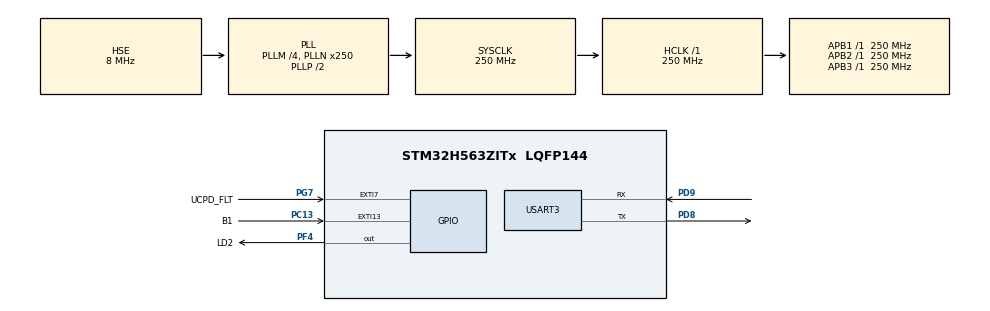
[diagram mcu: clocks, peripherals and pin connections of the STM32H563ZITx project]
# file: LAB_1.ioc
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BOOTPATH.BootPathName=LEGACY
BOOTPATH.UserSelectedBootPath=LEGACY
CORTEX_M33_NS.Number-Cortex_Memory_Protection_Unit_Region0_OTP_RO_AREAS_Settings=MPU_REGION_NUMBER0
CORTEX_M33_NS.default_mode_Activation=1
CORTEX_M33_NS.userName=CORTEX_M33
Mcu.Family=STM32H5
Mcu.Name=STM32H563ZITx
Mcu.Package=LQFP144
NVIC.EXTI13_IRQn=true\:0\:0\:false\:false\:true\:true\:true\:true
NVIC.PriorityGroup=NVIC_PRIORITYGROUP_4
PA1.GPIO_Label=RMII_REF_CLK
PA1.GPIO_Mode=GPIO_MODE_AF_PP
PA1.GPIO_PuPd=GPIO_NOPULL
PA1.GPIO_Speed=GPIO_SPEED_FREQ_LOW
PA1.Signal=ETH_REF_CLK
PA11.GPIO_Label=USB_FS_N
PA11.Signal=USB_DM
PA12.GPIO_Label=USB_FS_P
PA12.Signal=USB_DP
PA13(JTMS/SWDIO).GPIO_Label=SWDIO
PA13(JTMS/SWDIO).Signal=DEBUG_JTMS-SWDIO
PA14(JTCK/SWCLK).GPIO_Label=SWCLK
PA14(JTCK/SWCLK).Signal=DEBUG_JTCK-SWCLK
PA15(JTDI).GPIO_Label=T_JTDI
PA15(JTDI).Signal=DEBUG_JTDI
PA2.GPIO_Label=RMII_MDIO
PA2.GPIO_Mode=GPIO_MODE_AF_PP
PA2.GPIO_PuPd=GPIO_NOPULL
PA2.GPIO_Speed=GPIO_SPEED_FREQ_LOW
PA2.Signal=ETH_MDIO
PA4.GPIO_Label=VBUS_SENSE
PA4.Signal=ADCx_INP18
PA7.GPIO_Label=RMII_CRS_DV
PA7.GPIO_Mode=GPIO_MODE_AF_PP
PA7.GPIO_PuPd=GPIO_NOPULL
PA7.GPIO_Speed=GPIO_SPEED_FREQ_LOW
PA7.Signal=ETH_CRS_DV
PA9.GPIO_Label=UCDP_DBn
PA9.Signal=UCPD1_DB1
PB13.GPIO_Label=UCPD_CC1
PB13.Signal=UCPD1_CC1
PB14.GPIO_Label=UCPD_CC2
PB14.Signal=UCPD1_CC2
PB15.GPIO_Label=RMII_TXD1
PB15.GPIO_Mode=GPIO_MODE_AF_PP
PB15.GPIO_PuPd=GPIO_NOPULL
PB15.GPIO_Speed=GPIO_SPEED_FREQ_LOW
PB15.Signal=ETH_TXD1
PB3(JTDO/TRACESWO).GPIO_Label=SWO
PB3(JTDO/TRACESWO).Signal=DEBUG_JTDO-SWO
PB6.GPIO_Label=ARD_D1_TX
PB6.Signal=LPUART1_TX
PB7.GPIO_Label=ARD_D0_RX
PB7.Signal=LPUART1_RX
PC1.GPIO_Label=RMII_MDC
PC1.GPIO_Mode=GPIO_MODE_AF_PP
PC1.GPIO_PuPd=GPIO_NOPULL
PC1.GPIO_Speed=GPIO_SPEED_FREQ_LOW
PC1.Signal=ETH_MDC
PC13.GPIO_Label=B1
PC13.Signal=GPXTI13
PC14-OSC32_IN(OSC32_IN).Mode=LSE-External-Oscillator
PC14-OSC32_IN(OSC32_IN).Signal=RCC_OSC32_IN
PC15-OSC32_OUT(OSC32_OUT).Mode=LSE-External-Oscillator
PC15-OSC32_OUT(OSC32_OUT).Signal=RCC_OSC32_OUT
PC4.GPIO_Label=RMII_RXD0
PC4.GPIO_Mode=GPIO_MODE_AF_PP
PC4.GPIO_PuPd=GPIO_NOPULL
PC4.GPIO_Speed=GPIO_SPEED_FREQ_LOW
PC4.Signal=ETH_RXD0
PC5.GPIO_Label=RMII_RXD1
PC5.GPIO_Mode=GPIO_MODE_AF_PP
PC5.GPIO_PuPd=GPIO_NOPULL
PC5.GPIO_Speed=GPIO_SPEED_FREQ_LOW
PC5.Signal=ETH_RXD1
PD8.Mode=Asynchronous
PD8.Signal=USART3_TX
PD9.Mode=Asynchronous
PD9.Signal=USART3_RX
PE2.GPIO_Label=TRACE_CK
PE2.Signal=DEBUG_TRACECLK
PE3.GPIO_Label=TRACE_D0
PE3.Signal=DEBUG_TRACED0
PE4.GPIO_Label=TRACE_D1
PE4.Signal=DEBUG_TRACED1
PE5.GPIO_Label=TRACE_D2
PE5.Signal=DEBUG_TRACED2
PE6.GPIO_Label=TRACE_D3
PE6.Signal=DEBUG_TRACED3
PF4.GPIO_Label=LD2
PF4.Signal=GPIO_Output
PG11.GPIO_Label=RMII_TXT_EN
PG11.GPIO_Mode=GPIO_MODE_AF_PP
PG11.GPIO_PuPd=GPIO_NOPULL
PG11.GPIO_Speed=GPIO_SPEED_FREQ_LOW
PG11.Signal=ETH_TX_EN
PG13.GPIO_Label=RMI_TXD0
PG13.GPIO_Mode=GPIO_MODE_AF_PP
PG13.GPIO_PuPd=GPIO_NOPULL
PG13.GPIO_Speed=GPIO_SPEED_FREQ_LOW
PG13.Signal=ETH_TXD0
PG7.GPIO_Label=UCPD_FLT
PG7.Signal=GPXTI7
PH0-OSC_IN(PH0).GPIO_Label=STLK_MCO
PH0-OSC_IN(PH0).Mode=HSE-External-Clock-Source
PH0-OSC_IN(PH0).Signal=RCC_OSC_IN
ProjectManager.HeapSize=0x200
ProjectManager.StackSize=0x400
ProjectManager.TargetToolchain=STM32CubeIDE
RCC.ADCFreq_Value=250000000
RCC.AHBFreq_Value=250000000
RCC.APB1Freq_Value=250000000
RCC.APB1TimFreq_Value=250000000
RCC.APB2Freq_Value=250000000
RCC.APB2TimFreq_Value=250000000
RCC.APB3Freq_Value=250000000
RCC.CSI_VALUE=4000000
RCC.CortexFreq_Value=250000000
RCC.EPOD_VALUE=8000000
RCC.HCLKFreq_Value=250000000
RCC.HSE_VALUE=8000000
RCC.HSI48_VALUE=48000000
RCC.HSIDiv=RCC_HSI_DIV1
RCC.HSI_VALUE=64000000
RCC.LSIRC_VALUE=32000
RCC.PLLM=4
RCC.PLLN=250
RCC.PLLSourceVirtual=RCC_PLL1_SOURCE_HSE
RCC.SYSCLKFreq_VALUE=250000000
RCC.SYSCLKSource=RCC_SYSCLKSOURCE_PLLCLK
RCC.USBFreq_Value=48000000
RCC.VCOOutputFreq_Value=500000000
SH.ADCx_INP18.0=ADC1_INP18
USART3.VirtualMode-Asynchronous=VM_ASYNC
VP_BOOTPATH_VS_BOOTPATH.Mode=BP_Activate
VP_CORTEX_M33_NS_VS_Hclk.Mode=Hclk_Mode
VP_ICACHE_VS_ICACHE.Mode=DirectMappedCache
VP_MEMORYMAP_VS_MEMORYMAP.Mode=CurAppReg
VP_PWR_VS_DBSignals.Mode=DisableDeadBatterySignals
VP_PWR_VS_LPOM.Mode=PowerOptimisation
VP_PWR_VS_SECSignals.Mode=Security/Privilege
board=NUCLEO-H563ZI

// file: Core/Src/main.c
/* USER CODE BEGIN Header */
/**
  ******************************************************************************
  * @file           : main.c
  * @brief          : Main program body
  ******************************************************************************
  * @attention
  *
  * Copyright (c) 2026 STMicroelectronics.
  * All rights reserved.
  *
  * This software is licensed under terms that can be found in the LICENSE file
  * in the root directory of this software component.
  * If no LICENSE file comes with this software, it is provided AS-IS.
  *
  ******************************************************************************
  */
/* USER CODE END Header */
#include "main.h"

/* USER CODE BEGIN Includes */
#include <ctype.h>
#include <stdio.h>
#include <stdlib.h>
#include <string.h>
/* USER CODE END Includes */

/* USER CODE BEGIN PD */
#define BUTTON_DEBOUNCE_MS 200U
#define UART_LOG_QUEUE_DEPTH 16U
#define UART_LOG_MSG_MAX_LEN 96U
#define UART_RX_FIFO_DEPTH 32U
#define UART_CONSOLE_LINE_MAX_LEN 64U
/* USER CODE END PD */

UART_HandleTypeDef huart3;

/* USER CODE BEGIN PV */
volatile uint32_t g_blink_ms = 500;
volatile uint8_t g_button_event = 0;
volatile uint32_t g_next_toggle_tick = 0;
volatile uint32_t g_last_button_tick = 0;
static char g_uart_log_queue[UART_LOG_QUEUE_DEPTH][UART_LOG_MSG_MAX_LEN];
volatile uint8_t g_uart_log_head = 0;
volatile uint8_t g_uart_log_tail = 0;
volatile uint8_t g_uart_tx_busy = 0;
volatile uint8_t g_uart_rx_byte = 0;
static uint8_t g_uart_rx_fifo[UART_RX_FIFO_DEPTH];
volatile uint8_t g_uart_rx_head = 0;
volatile uint8_t g_uart_rx_tail = 0;
volatile uint8_t g_uart_rx_overflow = 0;
static char g_console_line[UART_CONSOLE_LINE_MAX_LEN];
static char g_console_cmd[UART_CONSOLE_LINE_MAX_LEN];
uint8_t g_console_line_len = 0;
volatile uint8_t g_console_cmd_ready = 0;
uint32_t g_console_baud_rate = 115200U;
const char *g_console_format_name = "8N1";
/* USER CODE END PV */

void SystemClock_Config(void);
static void MPU_Config(void);
static void MX_GPIO_Init(void);
static void MX_ICACHE_Init(void);
static void MX_USART3_UART_Init(void);
/* USER CODE BEGIN PFP */
static uint8_t UartLogNextIndex(uint8_t index);
static uint8_t UartRxNextIndex(uint8_t index);
static void UartLogStartTxIfIdle(void);
static void UartWaitForTxDrain(void);
static void LogUart(const char *msg);
static void StartConsoleRx(void);
static uint8_t UartRxPopByte(uint8_t *byte);
static void ConsolePrintPrompt(void);
static void ConsolePrintHelp(void);
static void ConsolePrintCurrentUart(void);
static void ConsoleHandleByte(uint8_t byte);
static void ConsoleProcessRx(void);
static void ConsoleProcessCommand(void);
static uint8_t ConsoleTryParseFormat(const char *token,
                                     uint32_t *word_length,
                                     uint32_t *parity,
                                     uint32_t *stop_bits,
                                     const char **format_name);
static HAL_StatusTypeDef ConsoleApplyUartConfig(uint32_t baud_rate,
                                                uint32_t word_length,
                                                uint32_t parity,
                                                uint32_t stop_bits);
/* USER CODE END PFP */

/* USER CODE BEGIN 0 */
static uint8_t UartLogNextIndex(uint8_t index)
{
  return (uint8_t)((index + 1U) % UART_LOG_QUEUE_DEPTH);
}

static uint8_t UartRxNextIndex(uint8_t index)
{
  return (uint8_t)((index + 1U) % UART_RX_FIFO_DEPTH);
}

static void UartLogStartTxIfIdle(void)
{
  uint8_t tail_local;
  uint16_t len;
  HAL_StatusTypeDef status;

  __disable_irq();
  if ((g_uart_tx_busy != 0U) || (g_uart_log_head == g_uart_log_tail))
  {
    __enable_irq();
    return;
  }

  g_uart_tx_busy = 1U;
  tail_local = g_uart_log_tail;
  len = (uint16_t)strlen(g_uart_log_queue[tail_local]);
  __enable_irq();

  status = HAL_UART_Transmit_IT(&huart3, (uint8_t *)g_uart_log_queue[tail_local], len);
  if (status != HAL_OK)
  {
    __disable_irq();
    g_uart_tx_busy = 0U;
    __enable_irq();
  }
}

static void LogUart(const char *msg)
{
  uint8_t head_local;
  uint8_t next_head;

  if (msg == NULL)
  {
    return;
  }

  __disable_irq();
  head_local = g_uart_log_head;
  next_head = UartLogNextIndex(head_local);
  if (next_head == g_uart_log_tail)
  {
    __enable_irq();
    return;
  }

  (void)strncpy(g_uart_log_queue[head_local], msg, UART_LOG_MSG_MAX_LEN - 1U);
  g_uart_log_queue[head_local][UART_LOG_MSG_MAX_LEN - 1U] = '\0';
  g_uart_log_head = next_head;
  __enable_irq();

  UartLogStartTxIfIdle();
}

static void UartWaitForTxDrain(void)
{
  while (1)
  {
    uint8_t tx_idle;

    __disable_irq();
    tx_idle = (uint8_t)(((g_uart_tx_busy == 0U) && (g_uart_log_head == g_uart_log_tail)) ? 1U : 0U);
    __enable_irq();

    if (tx_idle != 0U)
    {
      break;
    }

    UartLogStartTxIfIdle();
  }
}

static void StartConsoleRx(void)
{
  if (HAL_UART_Receive_IT(&huart3, (uint8_t *)&g_uart_rx_byte, 1U) != HAL_OK)
  {
    Error_Handler();
  }
}

static uint8_t UartRxPopByte(uint8_t *byte)
{
  uint8_t tail_local;

  if (byte == NULL)
  {
    return 0U;
  }

  __disable_irq();
  if (g_uart_rx_head == g_uart_rx_tail)
  {
    __enable_irq();
    return 0U;
  }

  tail_local = g_uart_rx_tail;
  *byte = g_uart_rx_fifo[tail_local];
  g_uart_rx_tail = UartRxNextIndex(tail_local);
  __enable_irq();

  return 1U;
}

static void ConsolePrintPrompt(void)
{
  LogUart("> ");
}

static void ConsolePrintHelp(void)
{
  LogUart("Commands:\r\n");
  LogUart("  help\r\n");
  LogUart("  uart show\r\n");
  LogUart("  uart set <baud> <8n1|8e1|8o1|8n2>\r\n");
}

static void ConsolePrintCurrentUart(void)
{
  char msg[UART_LOG_MSG_MAX_LEN];

  (void)snprintf(msg,
                 sizeof(msg),
                 "UART console: %lu %s\r\n",
                 (unsigned long)g_console_baud_rate,
                 g_console_format_name);
  LogUart(msg);
}

static void ConsoleHandleByte(uint8_t byte)
{
  char echo[2];

  if ((byte == '\r') || (byte == '\n'))
  {
    if (g_console_line_len != 0U)
    {
      g_console_line[g_console_line_len] = '\0';
      if (g_console_cmd_ready == 0U)
      {
        (void)strncpy(g_console_cmd, g_console_line, sizeof(g_console_cmd) - 1U);
        g_console_cmd[sizeof(g_console_cmd) - 1U] = '\0';
        g_console_cmd_ready = 1U;
      }
      else
      {
        LogUart("\r\nCommand dropped: previous command still pending.\r\n");
      }

      g_console_line_len = 0U;
    }
    else
    {
      LogUart("\r\n");
      ConsolePrintPrompt();
      return;
    }

    LogUart("\r\n");
    return;
  }

  if ((byte == '\b') || (byte == 0x7FU))
  {
    if (g_console_line_len != 0U)
    {
      g_console_line_len--;
      LogUart("\b \b");
    }

    return;
  }

  if (isprint((int)byte) == 0)
  {
    return;
  }

  if (g_console_line_len >= (UART_CONSOLE_LINE_MAX_LEN - 1U))
  {
    return;
  }

  g_console_line[g_console_line_len] = (char)byte;
  g_console_line_len++;

  echo[0] = (char)byte;
  echo[1] = '\0';
  LogUart(echo);
}

static uint8_t ConsoleTryParseFormat(const char *token,
                                     uint32_t *word_length,
                                     uint32_t *parity,
                                     uint32_t *stop_bits,
                                     const char **format_name)
{
  char normalized[8];
  size_t idx;

  if ((token == NULL) || (word_length == NULL) || (parity == NULL) || (stop_bits == NULL) || (format_name == NULL))
  {
    return 0U;
  }

  for (idx = 0U; idx < (sizeof(normalized) - 1U); idx++)
  {
    if (token[idx] == '\0')
    {
      break;
    }

    normalized[idx] = (char)tolower((int)(unsigned char)token[idx]);
  }
  normalized[idx] = '\0';

  if (strcmp(normalized, "8n1") == 0)
  {
    *word_length = UART_WORDLENGTH_8B;
    *parity = UART_PARITY_NONE;
    *stop_bits = UART_STOPBITS_1;
    *format_name = "8N1";
    return 1U;
  }

  if (strcmp(normalized, "8e1") == 0)
  {
    *word_length = UART_WORDLENGTH_9B;
    *parity = UART_PARITY_EVEN;
    *stop_bits = UART_STOPBITS_1;
    *format_name = "8E1";
    return 1U;
  }

  if (strcmp(normalized, "8o1") == 0)
  {
    *word_length = UART_WORDLENGTH_9B;
    *parity = UART_PARITY_ODD;
    *stop_bits = UART_STOPBITS_1;
    *format_name = "8O1";
    return 1U;
  }

  if (strcmp(normalized, "8n2") == 0)
  {
    *word_length = UART_WORDLENGTH_8B;
    *parity = UART_PARITY_NONE;
    *stop_bits = UART_STOPBITS_2;
    *format_name = "8N2";
    return 1U;
  }

  return 0U;
}

static HAL_StatusTypeDef ConsoleApplyUartConfig(uint32_t baud_rate,
                                                uint32_t word_length,
                                                uint32_t parity,
                                                uint32_t stop_bits)
{
  (void)HAL_UART_AbortReceive_IT(&huart3);

  if (HAL_UART_DeInit(&huart3) != HAL_OK)
  {
    return HAL_ERROR;
  }

  huart3.Instance = USART3;
  huart3.Init.BaudRate = baud_rate;
  huart3.Init.WordLength = word_length;
  huart3.Init.StopBits = stop_bits;
  huart3.Init.Parity = parity;
  huart3.Init.Mode = UART_MODE_TX_RX;
  huart3.Init.HwFlowCtl = UART_HWCONTROL_NONE;
  huart3.Init.OverSampling = UART_OVERSAMPLING_16;
  huart3.Init.OneBitSampling = UART_ONE_BIT_SAMPLE_DISABLE;
  huart3.Init.ClockPrescaler = UART_PRESCALER_DIV1;
  huart3.AdvancedInit.AdvFeatureInit = UART_ADVFEATURE_NO_INIT;

  if (HAL_UART_Init(&huart3) != HAL_OK)
  {
    return HAL_ERROR;
  }

  if (HAL_UARTEx_SetTxFifoThreshold(&huart3, UART_TXFIFO_THRESHOLD_1_8) != HAL_OK)
  {
    return HAL_ERROR;
  }

  if (HAL_UARTEx_SetRxFifoThreshold(&huart3, UART_RXFIFO_THRESHOLD_1_8) != HAL_OK)
  {
    return HAL_ERROR;
  }

  if (HAL_UARTEx_DisableFifoMode(&huart3) != HAL_OK)
  {
    return HAL_ERROR;
  }

  StartConsoleRx();
  return HAL_OK;
}

static void ConsoleProcessCommand(void)
{
  char *command;
  char *subcommand;
  char *baud_token;
  char *format_token;
  char *extra_token;
  char *end_ptr;
  char msg[UART_LOG_MSG_MAX_LEN];
  uint32_t baud_rate;
  uint32_t word_length;
  uint32_t parity;
  uint32_t stop_bits;
  const char *format_name;

  command = strtok(g_console_cmd, " ");
  if (command == NULL)
  {
    return;
  }

  if (strcmp(command, "help") == 0)
  {
    ConsolePrintHelp();
    return;
  }

  if (strcmp(command, "uart") != 0)
  {
    LogUart("Unknown command. Type 'help'.\r\n");
    return;
  }

  subcommand = strtok(NULL, " ");
  if (subcommand == NULL)
  {
    LogUart("Usage: uart show | uart set <baud> <format>\r\n");
    return;
  }

  if (strcmp(subcommand, "show") == 0)
  {
    ConsolePrintCurrentUart();
    return;
  }

  if (strcmp(subcommand, "set") != 0)
  {
    LogUart("Usage: uart show | uart set <baud> <format>\r\n");
    return;
  }

  baud_token = strtok(NULL, " ");
  format_token = strtok(NULL, " ");
  extra_token = strtok(NULL, " ");
  if ((baud_token == NULL) || (format_token == NULL) || (extra_token != NULL))
  {
    LogUart("Usage: uart set <baud> <8n1|8e1|8o1|8n2>\r\n");
    return;
  }

  baud_rate = strtoul(baud_token, &end_ptr, 10);
  if ((*baud_token == '\0') || (*end_ptr != '\0') || (baud_rate < 1200U) || (baud_rate > 1000000U))
  {
    LogUart("Baud must be an integer in the range 1200..1000000.\r\n");
    return;
  }

  if (ConsoleTryParseFormat(format_token, &word_length, &parity, &stop_bits, &format_name) == 0U)
  {
    LogUart("Format must be one of: 8n1, 8e1, 8o1, 8n2.\r\n");
    return;
  }

  (void)snprintf(msg,
                 sizeof(msg),
                 "Applying UART console: %lu %s. Update terminal now.\r\n",
                 (unsigned long)baud_rate,
                 format_name);
  LogUart(msg);
  UartWaitForTxDrain();

  if (ConsoleApplyUartConfig(baud_rate, word_length, parity, stop_bits) != HAL_OK)
  {
    Error_Handler();
  }

  g_console_baud_rate = baud_rate;
  g_console_format_name = format_name;
  LogUart("\r\nUART reconfigured.\r\n");
  ConsolePrintCurrentUart();
}

static void ConsoleProcessRx(void)
{
  uint8_t byte;

  while (UartRxPopByte(&byte) != 0U)
  {
    ConsoleHandleByte(byte);
  }

  __disable_irq();
  if (g_uart_rx_overflow != 0U)
  {
    g_uart_rx_overflow = 0U;
    __enable_irq();
    LogUart("\r\nRX overflow: input dropped.\r\n");
  }
  else
  {
    __enable_irq();
  }
}

void HAL_GPIO_EXTI_Rising_Callback(uint16_t GPIO_Pin)
{
  if (GPIO_Pin == B1_Pin)
  {
    uint32_t now = HAL_GetTick();
    if ((now - g_last_button_tick) < BUTTON_DEBOUNCE_MS)
    {
      return;
    }

    g_last_button_tick = now;
    g_blink_ms = (g_blink_ms == 500U) ? 100U : 500U;
    g_button_event = 1U;
  }
}

void HAL_UART_TxCpltCallback(UART_HandleTypeDef *huart)
{
  if (huart->Instance != USART3)
  {
    return;
  }

  __disable_irq();
  g_uart_log_tail = UartLogNextIndex(g_uart_log_tail);
  g_uart_tx_busy = 0U;
  __enable_irq();

  UartLogStartTxIfIdle();
}

void HAL_UART_RxCpltCallback(UART_HandleTypeDef *huart)
{
  uint8_t next_head;

  if (huart->Instance != USART3)
  {
    return;
  }

  next_head = UartRxNextIndex(g_uart_rx_head);
  if (next_head == g_uart_rx_tail)
  {
    g_uart_rx_overflow = 1U;
  }
  else
  {
    g_uart_rx_fifo[g_uart_rx_head] = g_uart_rx_byte;
    g_uart_rx_head = next_head;
  }

  if (HAL_UART_Receive_IT(&huart3, (uint8_t *)&g_uart_rx_byte, 1U) != HAL_OK)
  {
    Error_Handler();
  }
}

void HAL_UART_ErrorCallback(UART_HandleTypeDef *huart)
{
  if (huart->Instance != USART3)
  {
    return;
  }

  if (HAL_UART_Receive_IT(&huart3, (uint8_t *)&g_uart_rx_byte, 1U) != HAL_OK)
  {
    Error_Handler();
  }
}
/* USER CODE END 0 */

int main(void)
{

  /* MCU Configuration--------------------------------------------------------*/

  /* MPU Configuration--------------------------------------------------------*/
  MPU_Config();

  /* Reset of all peripherals, Initializes the Flash interface and the Systick. */
  HAL_Init();

  /* Configure the system clock */
  SystemClock_Config();

  /* Initialize all configured peripherals */
  MX_GPIO_Init();
  MX_ICACHE_Init();
  MX_USART3_UART_Init();
  /* USER CODE BEGIN 2 */
  g_next_toggle_tick = HAL_GetTick() + g_blink_ms;
  LogUart("\r\nLAB4 started: non-blocking UART logging with interrupt queue.\r\n");
  LogUart("UART mode: HAL_UART_Transmit_IT (USART3 IRQ).\r\n");
  LogUart("Debounce window: 200 ms.\r\n");
  LogUart("Press USER button to change blink speed.\r\n");
  LogUart("Console commands: help, uart show, uart set <baud> <format>\r\n");
  StartConsoleRx();
  ConsolePrintPrompt();
  /* USER CODE END 2 */

  /* Infinite loop */
  while (1)
  {

    /* USER CODE BEGIN 3 */
    uint32_t now = HAL_GetTick();

    ConsoleProcessRx();

    if ((int32_t)(now - g_next_toggle_tick) >= 0)
    {
      HAL_GPIO_TogglePin(LD2_GPIO_Port, LD2_Pin);
      g_next_toggle_tick = now + g_blink_ms;
    }

    if (g_button_event != 0U)
    {
      g_button_event = 0U;
      g_next_toggle_tick = now + g_blink_ms;
      if (g_blink_ms == 100U)
      {
        LogUart("Button event -> fast blink (100 ms)\r\n");
      }
      else
      {
        LogUart("Button event -> slow blink (500 ms)\r\n");
      }
    }

    if (g_console_cmd_ready != 0U)
    {
      g_console_cmd_ready = 0U;
      ConsoleProcessCommand();
      ConsolePrintPrompt();
    }

    UartLogStartTxIfIdle();
    __WFI();
  }
  /* USER CODE END 3 */
}

void SystemClock_Config(void)
{
  RCC_OscInitTypeDef RCC_OscInitStruct = {0};
  RCC_ClkInitTypeDef RCC_ClkInitStruct = {0};

  /** Configure the main internal regulator output voltage
  */
  __HAL_PWR_VOLTAGESCALING_CONFIG(PWR_REGULATOR_VOLTAGE_SCALE0);

  while(!__HAL_PWR_GET_FLAG(PWR_FLAG_VOSRDY)) {}

  /** Initializes the RCC Oscillators according to the specified parameters
  * in the RCC_OscInitTypeDef structure.
  */
  RCC_OscInitStruct.OscillatorType = RCC_OSCILLATORTYPE_HSE;
  RCC_OscInitStruct.HSEState = RCC_HSE_BYPASS;
  RCC_OscInitStruct.PLL.PLLState = RCC_PLL_ON;
  RCC_OscInitStruct.PLL.PLLSource = RCC_PLL1_SOURCE_HSE;
  RCC_OscInitStruct.PLL.PLLM = 4;
  RCC_OscInitStruct.PLL.PLLN = 250;
  RCC_OscInitStruct.PLL.PLLP = 2;
  RCC_OscInitStruct.PLL.PLLQ = 2;
  RCC_OscInitStruct.PLL.PLLR = 2;
  RCC_OscInitStruct.PLL.PLLRGE = RCC_PLL1_VCIRANGE_1;
  RCC_OscInitStruct.PLL.PLLVCOSEL = RCC_PLL1_VCORANGE_WIDE;
  RCC_OscInitStruct.PLL.PLLFRACN = 0;
  if (HAL_RCC_OscConfig(&RCC_OscInitStruct) != HAL_OK)
  {
    Error_Handler();
  }

  /** Initializes the CPU, AHB and APB buses clocks
  */
  RCC_ClkInitStruct.ClockType = RCC_CLOCKTYPE_HCLK|RCC_CLOCKTYPE_SYSCLK
                              |RCC_CLOCKTYPE_PCLK1|RCC_CLOCKTYPE_PCLK2
                              |RCC_CLOCKTYPE_PCLK3;
  RCC_ClkInitStruct.SYSCLKSource = RCC_SYSCLKSOURCE_PLLCLK;
  RCC_ClkInitStruct.AHBCLKDivider = RCC_SYSCLK_DIV1;
  RCC_ClkInitStruct.APB1CLKDivider = RCC_HCLK_DIV1;
  RCC_ClkInitStruct.APB2CLKDivider = RCC_HCLK_DIV1;
  RCC_ClkInitStruct.APB3CLKDivider = RCC_HCLK_DIV1;

  if (HAL_RCC_ClockConfig(&RCC_ClkInitStruct, FLASH_LATENCY_5) != HAL_OK)
  {
    Error_Handler();
  }

  /** Configure the programming delay
  */
  __HAL_FLASH_SET_PROGRAM_DELAY(FLASH_PROGRAMMING_DELAY_2);
}

static void MX_ICACHE_Init(void)
{

  /** Enable instruction cache in 1-way (direct mapped cache)
  */
  if (HAL_ICACHE_ConfigAssociativityMode(ICACHE_1WAY) != HAL_OK)
  {
    Error_Handler();
  }
  if (HAL_ICACHE_Enable() != HAL_OK)
  {
    Error_Handler();
  }

}

static void MX_USART3_UART_Init(void)
{

  huart3.Instance = USART3;
  huart3.Init.BaudRate = 115200;
  huart3.Init.WordLength = UART_WORDLENGTH_8B;
  huart3.Init.StopBits = UART_STOPBITS_1;
  huart3.Init.Parity = UART_PARITY_NONE;
  huart3.Init.Mode = UART_MODE_TX_RX;
  huart3.Init.HwFlowCtl = UART_HWCONTROL_NONE;
  huart3.Init.OverSampling = UART_OVERSAMPLING_16;
  huart3.Init.OneBitSampling = UART_ONE_BIT_SAMPLE_DISABLE;
  huart3.Init.ClockPrescaler = UART_PRESCALER_DIV1;
  huart3.AdvancedInit.AdvFeatureInit = UART_ADVFEATURE_NO_INIT;
  if (HAL_UART_Init(&huart3) != HAL_OK)
  {
    Error_Handler();
  }
  if (HAL_UARTEx_SetTxFifoThreshold(&huart3, UART_TXFIFO_THRESHOLD_1_8) != HAL_OK)
  {
    Error_Handler();
  }
  if (HAL_UARTEx_SetRxFifoThreshold(&huart3, UART_RXFIFO_THRESHOLD_1_8) != HAL_OK)
  {
    Error_Handler();
  }
  if (HAL_UARTEx_DisableFifoMode(&huart3) != HAL_OK)
  {
    Error_Handler();
  }
  /* USER CODE BEGIN USART3_Init 2 */
  HAL_NVIC_SetPriority(USART3_IRQn, 0, 0);
  HAL_NVIC_EnableIRQ(USART3_IRQn);

  /* USER CODE END USART3_Init 2 */

}

static void MX_GPIO_Init(void)
{
  GPIO_InitTypeDef GPIO_InitStruct = {0};

  /* GPIO Ports Clock Enable */
  __HAL_RCC_GPIOE_CLK_ENABLE();
  __HAL_RCC_GPIOC_CLK_ENABLE();
  __HAL_RCC_GPIOF_CLK_ENABLE();
  __HAL_RCC_GPIOH_CLK_ENABLE();
  __HAL_RCC_GPIOA_CLK_ENABLE();
  __HAL_RCC_GPIOB_CLK_ENABLE();
  __HAL_RCC_GPIOD_CLK_ENABLE();
  __HAL_RCC_GPIOG_CLK_ENABLE();

  /*Configure GPIO pin Output Level */
  HAL_GPIO_WritePin(LD2_GPIO_Port, LD2_Pin, GPIO_PIN_RESET);

  /*Configure GPIO pin : B1_Pin */
  GPIO_InitStruct.Pin = B1_Pin;
  GPIO_InitStruct.Mode = GPIO_MODE_IT_RISING;
  GPIO_InitStruct.Pull = GPIO_NOPULL;
  HAL_GPIO_Init(B1_GPIO_Port, &GPIO_InitStruct);

  /*Configure GPIO pin : LD2_Pin */
  GPIO_InitStruct.Pin = LD2_Pin;
  GPIO_InitStruct.Mode = GPIO_MODE_OUTPUT_PP;
  GPIO_InitStruct.Pull = GPIO_NOPULL;
  GPIO_InitStruct.Speed = GPIO_SPEED_FREQ_LOW;
  HAL_GPIO_Init(LD2_GPIO_Port, &GPIO_InitStruct);

  /*Configure GPIO pins : RMII_MDC_Pin RMII_RXD0_Pin RMII_RXD1_Pin */
  GPIO_InitStruct.Pin = RMII_MDC_Pin|RMII_RXD0_Pin|RMII_RXD1_Pin;
  GPIO_InitStruct.Mode = GPIO_MODE_AF_PP;
  GPIO_InitStruct.Pull = GPIO_NOPULL;
  GPIO_InitStruct.Speed = GPIO_SPEED_FREQ_HIGH;
  GPIO_InitStruct.Alternate = GPIO_AF11_ETH;
  HAL_GPIO_Init(GPIOC, &GPIO_InitStruct);

  /*Configure GPIO pins : RMII_REF_CLK_Pin RMII_MDIO_Pin RMII_CRS_DV_Pin */
  GPIO_InitStruct.Pin = RMII_REF_CLK_Pin|RMII_MDIO_Pin|RMII_CRS_DV_Pin;
  GPIO_InitStruct.Mode = GPIO_MODE_AF_PP;
  GPIO_InitStruct.Pull = GPIO_NOPULL;
  GPIO_InitStruct.Speed = GPIO_SPEED_FREQ_HIGH;
  GPIO_InitStruct.Alternate = GPIO_AF11_ETH;
  HAL_GPIO_Init(GPIOA, &GPIO_InitStruct);

  /*Configure GPIO pin : VBUS_SENSE_Pin */
  GPIO_InitStruct.Pin = VBUS_SENSE_Pin;
  GPIO_InitStruct.Mode = GPIO_MODE_ANALOG;
  GPIO_InitStruct.Pull = GPIO_NOPULL;
  HAL_GPIO_Init(VBUS_SENSE_GPIO_Port, &GPIO_InitStruct);

  /*Configure GPIO pins : UCPD_CC1_Pin UCPD_CC2_Pin */
  GPIO_InitStruct.Pin = UCPD_CC1_Pin|UCPD_CC2_Pin;
  GPIO_InitStruct.Mode = GPIO_MODE_ANALOG;
  GPIO_InitStruct.Pull = GPIO_NOPULL;
  HAL_GPIO_Init(GPIOB, &GPIO_InitStruct);

  /*Configure GPIO pin : RMII_TXD1_Pin */
  GPIO_InitStruct.Pin = RMII_TXD1_Pin;
  GPIO_InitStruct.Mode = GPIO_MODE_AF_PP;
  GPIO_InitStruct.Pull = GPIO_NOPULL;
  GPIO_InitStruct.Speed = GPIO_SPEED_FREQ_HIGH;
  GPIO_InitStruct.Alternate = GPIO_AF11_ETH;
  HAL_GPIO_Init(RMII_TXD1_GPIO_Port, &GPIO_InitStruct);

  /*Configure GPIO pin : UCPD_FLT_Pin */
  GPIO_InitStruct.Pin = UCPD_FLT_Pin;
  GPIO_InitStruct.Mode = GPIO_MODE_IT_RISING;
  GPIO_InitStruct.Pull = GPIO_NOPULL;
  HAL_GPIO_Init(UCPD_FLT_GPIO_Port, &GPIO_InitStruct);

  /*Configure GPIO pins : USB_FS_N_Pin USB_FS_P_Pin */
  GPIO_InitStruct.Pin = USB_FS_N_Pin|USB_FS_P_Pin;
  GPIO_InitStruct.Mode = GPIO_MODE_AF_PP;
  GPIO_InitStruct.Pull = GPIO_NOPULL;
  GPIO_InitStruct.Speed = GPIO_SPEED_FREQ_LOW;
  GPIO_InitStruct.Alternate = GPIO_AF10_USB;
  HAL_GPIO_Init(GPIOA, &GPIO_InitStruct);

  /*Configure GPIO pins : RMII_TXT_EN_Pin RMI_TXD0_Pin */
  GPIO_InitStruct.Pin = RMII_TXT_EN_Pin|RMI_TXD0_Pin;
  GPIO_InitStruct.Mode = GPIO_MODE_AF_PP;
  GPIO_InitStruct.Pull = GPIO_NOPULL;
  GPIO_InitStruct.Speed = GPIO_SPEED_FREQ_HIGH;
  GPIO_InitStruct.Alternate = GPIO_AF11_ETH;
  HAL_GPIO_Init(GPIOG, &GPIO_InitStruct);

  /*Configure GPIO pins : ARD_D1_TX_Pin ARD_D0_RX_Pin */
  GPIO_InitStruct.Pin = ARD_D1_TX_Pin|ARD_D0_RX_Pin;
  GPIO_InitStruct.Mode = GPIO_MODE_AF_PP;
  GPIO_InitStruct.Pull = GPIO_NOPULL;
  GPIO_InitStruct.Speed = GPIO_SPEED_FREQ_LOW;
  GPIO_InitStruct.Alternate = GPIO_AF8_LPUART1;
  HAL_GPIO_Init(GPIOB, &GPIO_InitStruct);

  /* EXTI interrupt init*/
  HAL_NVIC_SetPriority(EXTI13_IRQn, 0, 0);
  HAL_NVIC_EnableIRQ(EXTI13_IRQn);

}

 /* MPU Configuration */

void MPU_Config(void)
{
  MPU_Region_InitTypeDef MPU_InitStruct = {0};
  MPU_Attributes_InitTypeDef MPU_AttributesInit = {0};

  /* Disables the MPU */
  HAL_MPU_Disable();

  /** Initializes and configures the Region 0 and the memory to be protected
  */
  MPU_InitStruct.Enable = MPU_REGION_ENABLE;
  MPU_InitStruct.Number = MPU_REGION_NUMBER0;
  MPU_InitStruct.BaseAddress = 0x08FFF000;
  MPU_InitStruct.LimitAddress = 0x08FFFFFF;
  MPU_InitStruct.AttributesIndex = MPU_ATTRIBUTES_NUMBER0;
  MPU_InitStruct.AccessPermission = MPU_REGION_ALL_RO;
  MPU_InitStruct.DisableExec = MPU_INSTRUCTION_ACCESS_DISABLE;
  MPU_InitStruct.IsShareable = MPU_ACCESS_NOT_SHAREABLE;

  HAL_MPU_ConfigRegion(&MPU_InitStruct);

  /** Initializes and configures the Attribute 0 and the memory to be protected
  */
  MPU_AttributesInit.Number = MPU_ATTRIBUTES_NUMBER0;
  MPU_AttributesInit.Attributes = INNER_OUTER(MPU_NOT_CACHEABLE);

  HAL_MPU_ConfigMemoryAttributes(&MPU_AttributesInit);
  /* Enables the MPU */
  HAL_MPU_Enable(MPU_PRIVILEGED_DEFAULT);

}

void Error_Handler(void)
{
  __disable_irq();
  while (1)
  {
  }
}
